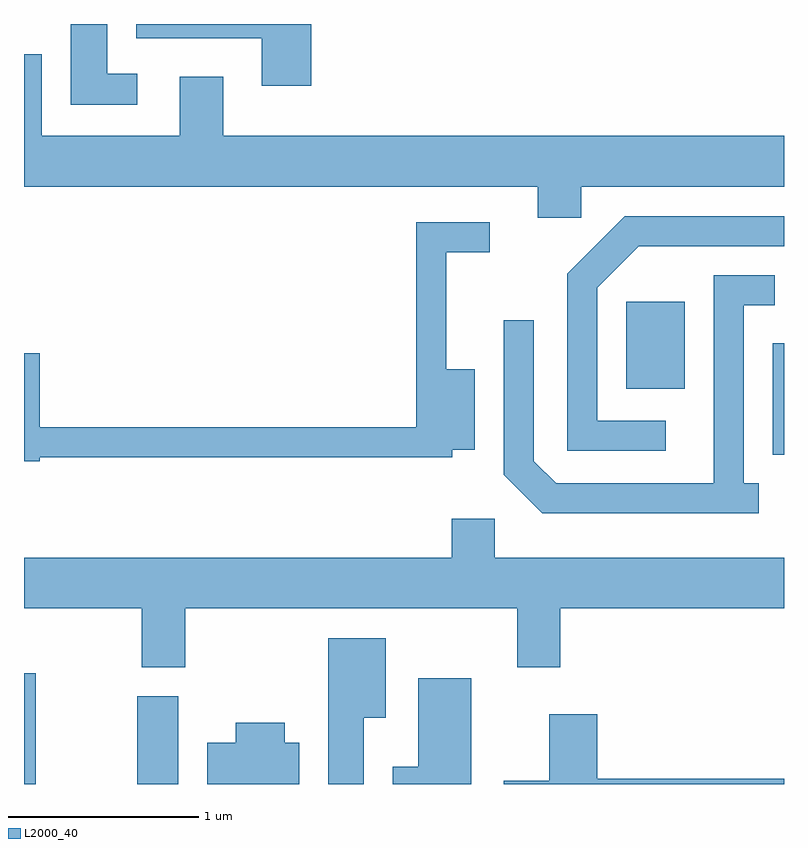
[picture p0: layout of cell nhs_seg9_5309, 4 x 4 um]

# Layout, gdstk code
import gdstk
lib = gdstk.Library(unit=1e-6, precision=1e-09)
def R(c, l, rs):  # rectangles x0, y0, x1, y1
    for r in rs: c.add(gdstk.rectangle(r[:2], r[2:], *l))
def P(c, l, *ps):  # polygons
    for p in ps: c.add(gdstk.Polygon(p, *l))
L2000_40 = (2000, 40)

nhs_seg9_5309 = lib.new_cell('nhs_seg9_5309')
R(nhs_seg9_5309, L2000_40, [(341.611,2006.432,341.674,2007.014), (342.206,2006.432,342.424,2006.894), (345.551,2008.166,345.611,2008.753), (344.781,2008.511,345.089,2008.969)])
P(nhs_seg9_5309, L2000_40, [(342.208,2010.169),(342.049,2010.169),(342.049,2010.432),(341.856,2010.432),(341.856,2010.006),(342.208,2010.006)],
  [(343.124,2010.432),(342.201,2010.432),(342.201,2010.356),(342.861,2010.356),(342.861,2010.106),(343.124,2010.106)],
  [(344.544,2009.576),(345.611,2009.576),(345.611,2009.844),(342.659,2009.844),(342.659,2010.154),(342.431,2010.154),(342.431,2009.844),(341.704,2009.844),(341.704,2010.273),(341.611,2010.273),(341.611,2009.576),(344.316,2009.576),(344.316,2009.411),(344.544,2009.411)],
  [(344.988,2008.344),(344.629,2008.344),(344.629,2009.044),(344.847,2009.261),(345.611,2009.261),(345.611,2009.419),(344.774,2009.419),(344.471,2009.117),(344.471,2008.186),(344.988,2008.186)],
  [(341.694,2008.151),(343.864,2008.151),(343.864,2008.191),(343.984,2008.191),(343.984,2008.614),(343.834,2008.614),(343.834,2009.231),(344.063,2009.231),(344.063,2009.389),(343.676,2009.389),(343.676,2008.309),(341.694,2008.309),(341.694,2008.699),(341.611,2008.699),(341.611,2008.131),(341.694,2008.131)],
  [(345.478,2008.014),(345.399,2008.014),(345.399,2008.951),(345.563,2008.951),(345.563,2009.109),(345.241,2009.109),(345.241,2008.014),(344.412,2008.014),(344.294,2008.132),(344.294,2008.873),(344.136,2008.873),(344.136,2008.059),(344.339,2007.856),(345.478,2007.856)],
  [(342.459,2007.356),(344.206,2007.356),(344.206,2007.046),(344.434,2007.046),(344.434,2007.356),(345.611,2007.356),(345.611,2007.624),(344.089,2007.624),(344.089,2007.829),(343.861,2007.829),(343.861,2007.624),(341.611,2007.624),(341.611,2007.356),(342.231,2007.356),(342.231,2007.046),(342.459,2007.046)],
  [(343.399,2006.781),(343.514,2006.781),(343.514,2007.199),(343.211,2007.199),(343.211,2006.432),(343.399,2006.432)],
  [(343.964,2006.989),(343.686,2006.989),(343.686,2006.524),(343.551,2006.524),(343.551,2006.432),(343.964,2006.432)],
  [(345.611,2006.459),(344.629,2006.459),(344.629,2006.799),(344.376,2006.799),(344.376,2006.449),(344.136,2006.449),(344.136,2006.432),(345.611,2006.432)],
  [(343.059,2006.649),(342.984,2006.649),(342.984,2006.754),(342.726,2006.754),(342.726,2006.649),(342.576,2006.649),(342.576,2006.432),(343.059,2006.432)])

lib.write_gds('nhs_seg9_5309.gds')
